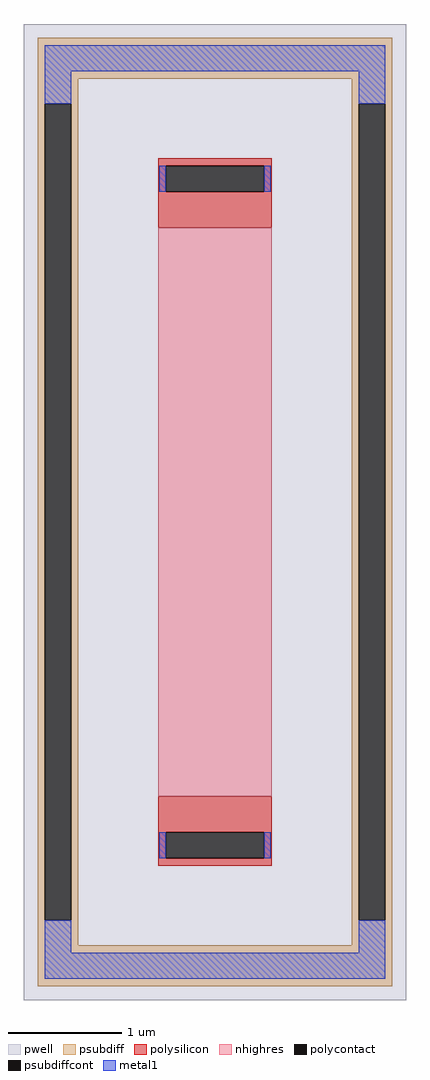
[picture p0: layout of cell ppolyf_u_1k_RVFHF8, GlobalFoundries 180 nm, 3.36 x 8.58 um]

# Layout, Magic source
magic
tech gf180mcuD
magscale 1 10
<< pwell >>
rect -336 -858 336 858
<< psubdiff >>
rect -312 762 312 834
rect -312 718 -240 762
rect -312 -718 -299 718
rect -253 -718 -240 718
rect 240 718 312 762
rect -312 -762 -240 -718
rect 240 -718 253 718
rect 299 -718 312 718
rect 240 -762 312 -718
rect -312 -834 312 -762
<< psubdiffcont >>
rect -299 -718 -253 718
rect 253 -718 299 718
<< polysilicon >>
rect -100 609 100 622
rect -100 563 -87 609
rect 87 563 100 609
rect -100 500 100 563
rect -100 -563 100 -500
rect -100 -609 -87 -563
rect 87 -609 100 -563
rect -100 -622 100 -609
<< polycontact >>
rect -87 563 87 609
rect -87 -609 87 -563
<< nhighres >>
rect -100 -500 100 500
<< metal1 >>
rect -299 775 299 821
rect -299 718 -253 775
rect 253 718 299 775
rect -98 563 -87 609
rect 87 563 98 609
rect -98 -609 -87 -563
rect 87 -609 98 -563
rect -299 -775 -253 -718
rect 253 -775 299 -718
rect -299 -821 299 -775
<< properties >>
string FIXED_BBOX -276 -798 276 798
string gencell ppolyf_u_1k
string library gf180mcu
string parameters w 1 l 5.0 m 1 nx 1 wmin 1.000 lmin 1.000 class resistor rho 1000 val 5.0k dummy 0 dw 0.0 term 0.0 sterm 0.0 caplen 0.4 snake 1 glc 1 grc 1 gtc 0 gbc 0 roverlap 1 endcov 100 full_metal 1 compatible {ppolyf_u_1k ppolyf_u_1k_6p0}
<< end >>
